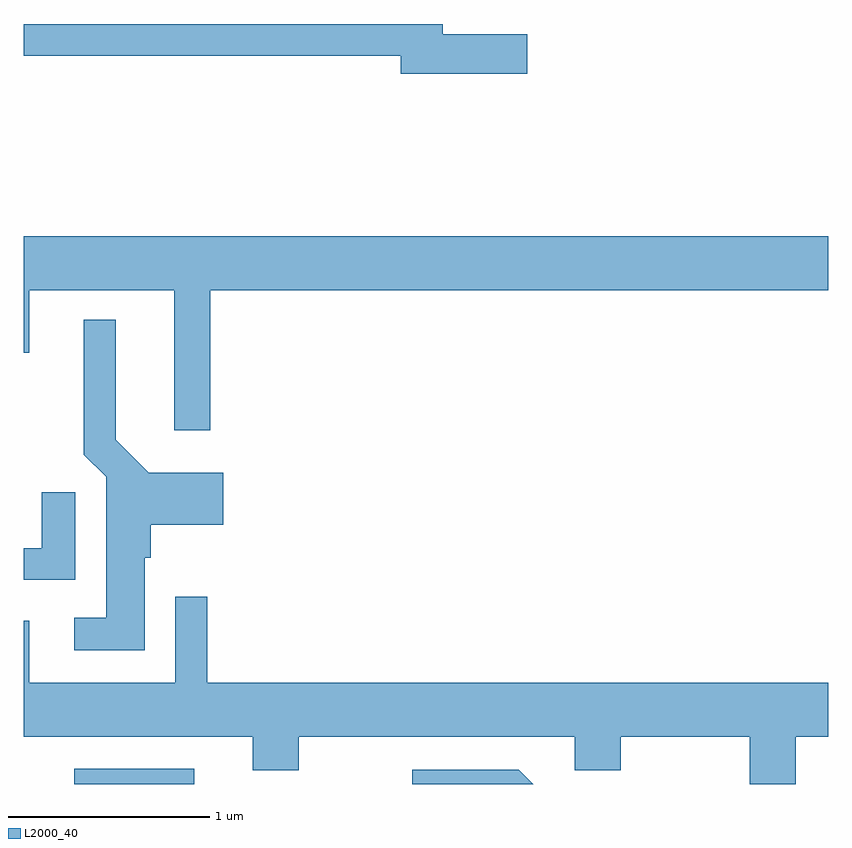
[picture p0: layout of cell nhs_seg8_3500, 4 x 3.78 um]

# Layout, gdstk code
import gdstk
lib = gdstk.Library(unit=1e-6, precision=1e-09)
def R(c, l, rs):  # rectangles x0, y0, x1, y1
    for r in rs: c.add(gdstk.rectangle(r[:2], r[2:], *l))
def P(c, l, *ps):  # polygons
    for p in ps: c.add(gdstk.Polygon(p, *l))
L2000_40 = (2000, 40)

nhs_seg8_3500 = lib.new_cell('nhs_seg8_3500')
R(nhs_seg8_3500, L2000_40, [(289.863,1898.342,290.459,1898.419)])
P(nhs_seg8_3500, L2000_40, [(292.114,1902.069),(291.694,1902.069),(291.694,1902.119),(289.611,1902.119),(289.611,1901.961),(291.486,1901.961),(291.486,1901.871),(292.114,1901.871)],
  [(290.539,1900.796),(293.611,1900.796),(293.611,1901.064),(289.611,1901.064),(289.611,1900.486),(289.639,1900.486),(289.639,1900.796),(290.361,1900.796),(290.361,1900.101),(290.539,1900.101)],
  [(290.214,1899.466),(290.244,1899.466),(290.244,1899.631),(290.604,1899.631),(290.604,1899.889),(290.232,1899.889),(290.069,1900.052),(290.069,1900.648),(289.911,1900.648),(289.911,1899.979),(290.021,1899.869),(290.021,1899.169),(289.863,1899.169),(289.863,1899.006),(290.214,1899.006)],
  [(289.869,1899.793),(289.701,1899.793),(289.701,1899.514),(289.611,1899.514),(289.611,1899.356),(289.869,1899.356)],
  [(293.449,1898.576),(293.611,1898.576),(293.611,1898.844),(290.524,1898.844),(290.524,1899.273),(290.366,1899.273),(290.366,1898.844),(289.639,1898.844),(289.639,1899.154),(289.611,1899.154),(289.611,1898.576),(290.751,1898.576),(290.751,1898.411),(290.979,1898.411),(290.979,1898.576),(292.351,1898.576),(292.351,1898.411),(292.579,1898.411),(292.579,1898.576),(293.221,1898.576),(293.221,1898.342),(293.449,1898.342)],
  [(292.072,1898.414),(291.543,1898.414),(291.543,1898.342),(292.144,1898.342)])

lib.write_gds('nhs_seg8_3500.gds')
